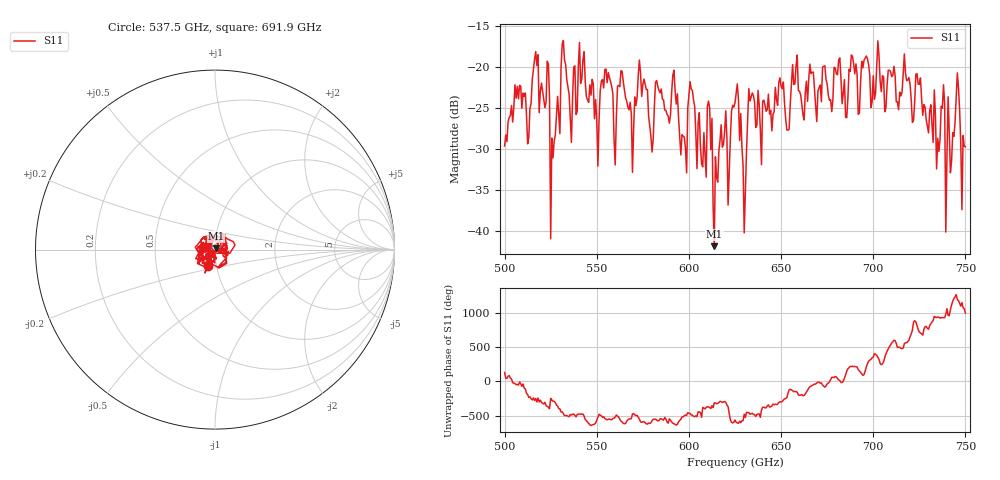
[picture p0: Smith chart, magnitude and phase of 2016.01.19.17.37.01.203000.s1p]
!Created with skrf (http://scikit-rf.org).
# GHz S RI R 50.0
!freq ReS11 ImS11
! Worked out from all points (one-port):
!   401 points, 500 GHz to 750 GHz, reference 50 ohm
!   lowest |S11| = -41.9 dB at 613.8 GHz (marker M1), VSWR 1.02, Z = 50.5 + j0.621 ohm
!   |S11| at or under -10 dB: start of sweep to end of sweep
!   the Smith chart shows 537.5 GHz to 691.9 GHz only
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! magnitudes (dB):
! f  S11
! 500 GHz  -29.6
! 506.9 GHz  -22.3
! 513.1 GHz  -28.6
! 516.9 GHz  -18.1
! 523.1 GHz  -19.3
! 526.2 GHz  -31.1
! 531.2 GHz  -17.2
! 535.6 GHz  -26.1
! 541.9 GHz  -21.4
! 550 GHz  -26.5
! 562.5 GHz  -22.4
! 568.8 GHz  -25.7
! 573.8 GHz  -20.7
! 579.4 GHz  -28.4
! 583.1 GHz  -22.3
! 593.8 GHz  -23.3
! 597.5 GHz  -28.5
! 601.2 GHz  -22.7
! 608.1 GHz  -28.0
! 611.2 GHz  -25.0
! 613.8 GHz  -41.9
! 625 GHz  -24.3
! 630 GHz  -40.3
! 633.8 GHz  -23.7
! 656.2 GHz  -19.7
! 687.5 GHz  -20.5
! 718.8 GHz  -21.6
! 750 GHz  -29.7
